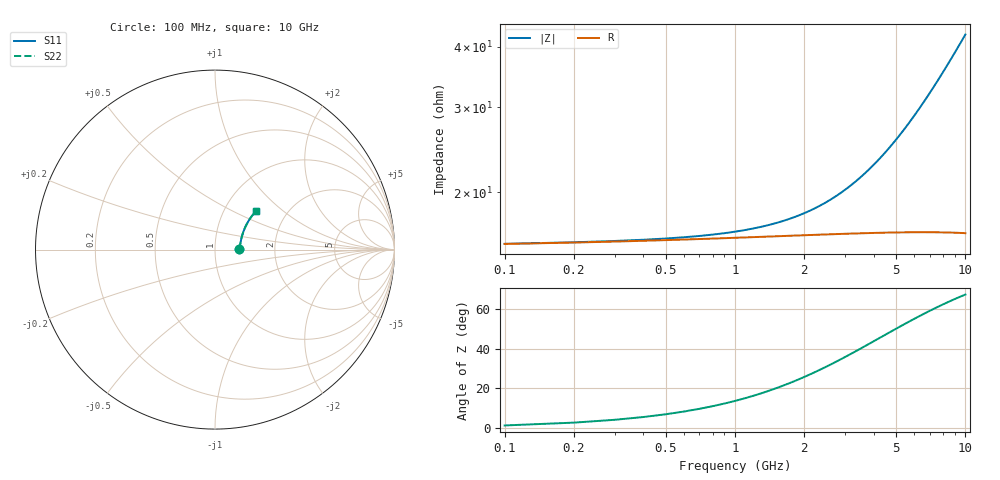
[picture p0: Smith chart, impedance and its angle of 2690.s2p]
# Hz S RI R 50.00
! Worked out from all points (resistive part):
!   100 points, 100 MHz to 10 GHz, reference 50 ohm
!   read as one part in series: R = 15.7 ohm at 100 MHz
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1e8  0.1354 0.00252  0.8646 -0.00336  0.8646 -0.00336  0.1354 0.00252
2e8  0.1362 0.00503  0.8638 -0.00671  0.8638 -0.00671  0.1362 0.00503
3e8  0.1368 0.00753  0.8632 -0.0101  0.8632 -0.0101  0.1368 0.00753
8e8  0.139 0.02  0.861 -0.0267  0.861 -0.0267  0.139 0.02
1.1e9  0.1402 0.0274  0.8597 -0.0367  0.8597 -0.0367  0.1402 0.0274
1.4e9  0.1415 0.0348  0.8585 -0.0466  0.8585 -0.0466  0.1415 0.0348
1.8e9  0.1433 0.0446  0.8566 -0.0597  0.8566 -0.0597  0.1433 0.0446
2.1e9  0.1448 0.0519  0.8551 -0.0695  0.8551 -0.0695  0.1448 0.0519
2.5e9  0.1469 0.0615  0.8528 -0.0826  0.8528 -0.0826  0.1469 0.0615
2.9e9  0.1493 0.0711  0.8503 -0.0955  0.8503 -0.0955  0.1493 0.0711
3.4e9  0.1527 0.083  0.8468 -0.1116  0.8468 -0.1116  0.1527 0.083
4.2e9  0.1589 0.1015  0.8404 -0.1369  0.8404 -0.1369  0.1589 0.1015
5.1e9  0.1671 0.1218  0.8319 -0.1648  0.8319 -0.1648  0.1671 0.1218
5.9e9  0.1754 0.1392  0.8233 -0.1889  0.8233 -0.1889  0.1754 0.1392
6.7e9  0.1846 0.156  0.8136 -0.2125  0.8136 -0.2125  0.1846 0.156
7.2e9  0.1908 0.1661  0.8072 -0.2268  0.8072 -0.2268  0.1908 0.1661
7.6e9  0.196 0.174  0.8017 -0.2381  0.8017 -0.2381  0.196 0.174
8e9  0.2014 0.1816  0.7961 -0.2491  0.7961 -0.2491  0.2014 0.1816
8.4e9  0.207 0.1891  0.7902 -0.26  0.7902 -0.26  0.207 0.1891
8.8e9  0.2128 0.1964  0.7842 -0.2707  0.7842 -0.2707  0.2128 0.1964
9.2e9  0.2188 0.2034  0.7779 -0.2811  0.7779 -0.2811  0.2188 0.2034
1e10  0.2312 0.2169  0.7649 -0.3014  0.7649 -0.3014  0.2312 0.2169
